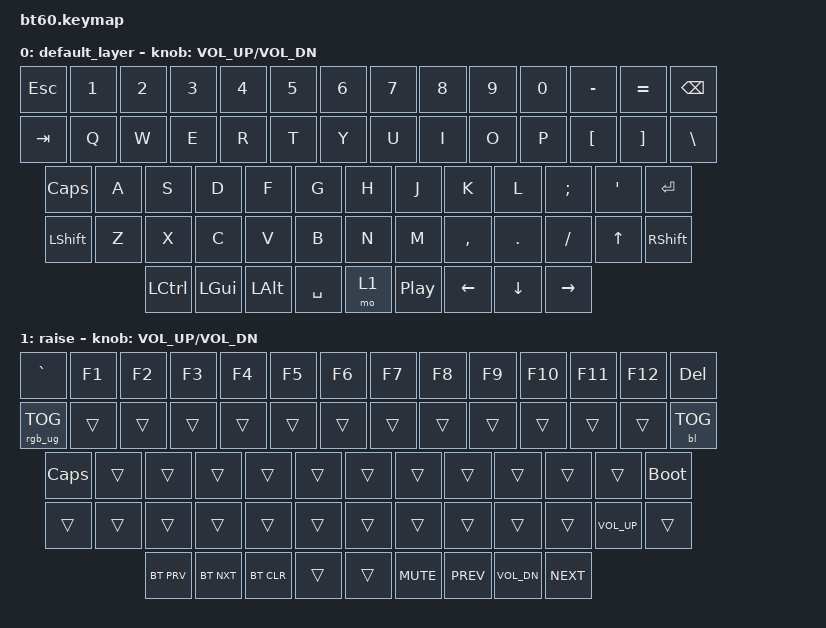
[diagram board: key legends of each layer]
#include <behaviors.dtsi>
#include <dt-bindings/zmk/keys.h>
#include <dt-bindings/zmk/bt.h>
#include <dt-bindings/zmk/rgb.h>
#include <dt-bindings/zmk/backlight.h>

/ {
	keymap {
		compatible = "zmk,keymap";

		default_layer {
				// ------------------------------------------------------------------------------------------
				// |  `  |  1  |  2  |  3  |  4  |  5  |  6  |  7  |  8  |  9  |  0  |  -  |  =  |   BKSP
				// | TAB  |  Q  |  W  |  E  |  R  |  T  |  Y  |  U  |  I  |  O  |  P  |  [  |  ]  |   |
				// | CAPS  |  A  |  S  |  D  |  F  |  G  |  H  |  J  |  K  |  L  |  ;  |  '  |     ENTER
				// |  SHIFT    |  Z  |  X  |  C  |  V  |  B  |  N  |  M  |  ,  |  .  |   /  |  UP |  SHIFT
				// |  CTL  |  WIN  |  ALT  |            SPACE           |  1  |  PP  |  LEFT  |  DOWN | RIGHT 
				// ------------------------------------------------------------------------------------------
			bindings = <

				&kp ESC &kp N1 &kp N2 &kp N3 &kp N4 &kp N5 &kp N6 &kp N7 &kp  N8   &kp  N9 &kp  N0  &kp MINUS &kp EQUAL &kp BSPC
				&kp TAB  &kp Q  &kp W  &kp E  &kp R  &kp T  &kp Y  &kp U  &kp  I    &kp  O  &kp  P   &kp LBKT &kp RBKT   &kp BSLH
				&kp CAPS  &kp A  &kp S  &kp D  &kp F  &kp G  &kp H  &kp J  &kp  K    &kp  L  &kp SEMI &kp SQT            &kp RET
				&kp LSHFT  &kp Z  &kp X  &kp C  &kp V  &kp B  &kp N  &kp M  &kp COMMA &kp DOT    &kp FSLH     &kp UP  &kp RSHFT  
				&kp LCTRL &kp LGUI &kp LALT            &kp SPACE            &mo 1  &kp C_PLAY_PAUSE &kp LEFT  &kp DOWN  &kp RIGHT
			>;
			sensor-bindings = <&inc_dec_kp C_VOL_UP C_VOL_DN>;
		};
		raise {
			bindings = <
				&kp GRAVE &kp F1 &kp F2 &kp F3 &kp F4 &kp F5 &kp F6 &kp F7 &kp F8 &kp F9 &kp F10 &kp F11 &kp F12 &kp DEL
				&rgb_ug RGB_TOG &trans &trans &trans &trans &trans &trans &trans &trans &trans &trans &trans &trans &bl BL_TOG
				&kp CAPS    &trans &trans &trans &trans &trans &trans &trans &trans &trans &trans  &trans   &bootloader
				&trans &trans &trans &trans &trans &trans &trans &trans &trans &trans &trans  &kp C_VOL_UP  &trans
				&bt BT_PRV &bt BT_NXT  &bt BT_CLR              &trans                            &trans   &kp C_MUTE   &kp C_PREV  &kp C_VOL_DN  &kp C_NEXT
			>;
			sensor-bindings = <&inc_dec_kp C_VOL_UP C_VOL_DN>;
		};
	};
};
